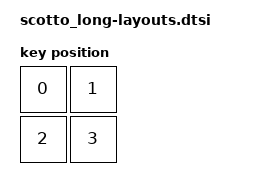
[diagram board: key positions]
#include <physical_layouts.dtsi>

/ {
    default_layout: default_layout {
        compatible = "zmk,physical-layout";
        display-name = "Default Layout";
        transform = <&default_transform>;
        kscan = <&kscan>;

        keys  //                     w   h    x    y     rot    rx    ry
            = <&key_physical_attrs 100 100    0    0       0     0     0>
            , <&key_physical_attrs 100 100  100    0       0     0     0>
            , <&key_physical_attrs 100 100    0  100       0     0     0>
            , <&key_physical_attrs 100 100  100  100       0     0     0>
            ;
    };
};
